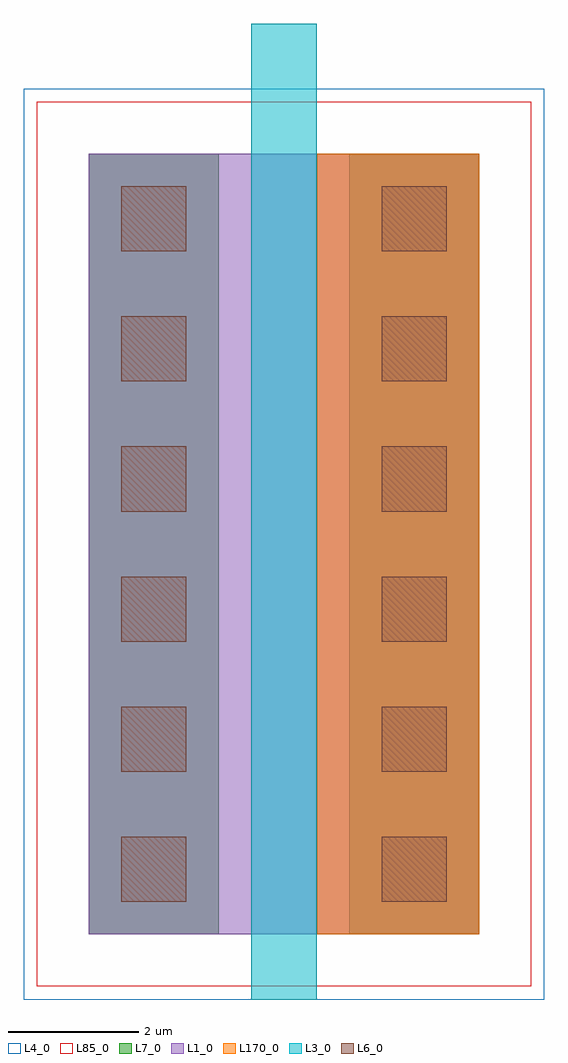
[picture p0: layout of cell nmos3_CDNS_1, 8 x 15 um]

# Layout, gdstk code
import gdstk
lib = gdstk.Library(unit=1e-6, precision=5e-10)
def R(c, l, rs):  # rectangles x0, y0, x1, y1
    for r in rs: c.add(gdstk.rectangle(r[:2], r[2:], *l))
def A(c, l, x, y, w, h, nx, ny, dx, dy):  # array of equal rectangles
    R(c, l, [(x+i*dx, y+j*dy, x+i*dx+w, y+j*dy+h) for i in range(nx) for j in range(ny)])
L1_0 = (1, 0)
L3_0 = (3, 0)
L4_0 = (4, 0)
L6_0 = (6, 0)
L7_0 = (7, 0)
L85_0 = (85, 0)
L170_0 = (170, 0)

nmos3_cdns_1 = lib.new_cell('nmos3_CDNS_1')
R(nmos3_cdns_1, L1_0, [(1,1,7,13)])
R(nmos3_cdns_1, L3_0, [(3.5,0,4.5,15), (3.6,13.5,4.4,13.9)])
R(nmos3_cdns_1, L4_0, [(0,0,8,14)])
A(nmos3_cdns_1, L6_0, 1.5, 1.5, 1, 1, 1, 6, 0, 2)
A(nmos3_cdns_1, L6_0, 5.5, 1.5, 1, 1, 1, 6, 0, 2)
R(nmos3_cdns_1, L6_0, [(5.5,1.5,6.5,2.5)])
R(nmos3_cdns_1, L7_0, [(1,1,3,13), (5,1,7,13), (1.3,1.3,2.7,12.7), (5.3,1.3,6.7,12.7)])
R(nmos3_cdns_1, L85_0, [(0.2,0.2,7.8,13.8)])
R(nmos3_cdns_1, L170_0, [(4.5,1,7,13)])

lib.write_gds('nmos3_CDNS_1.gds')
